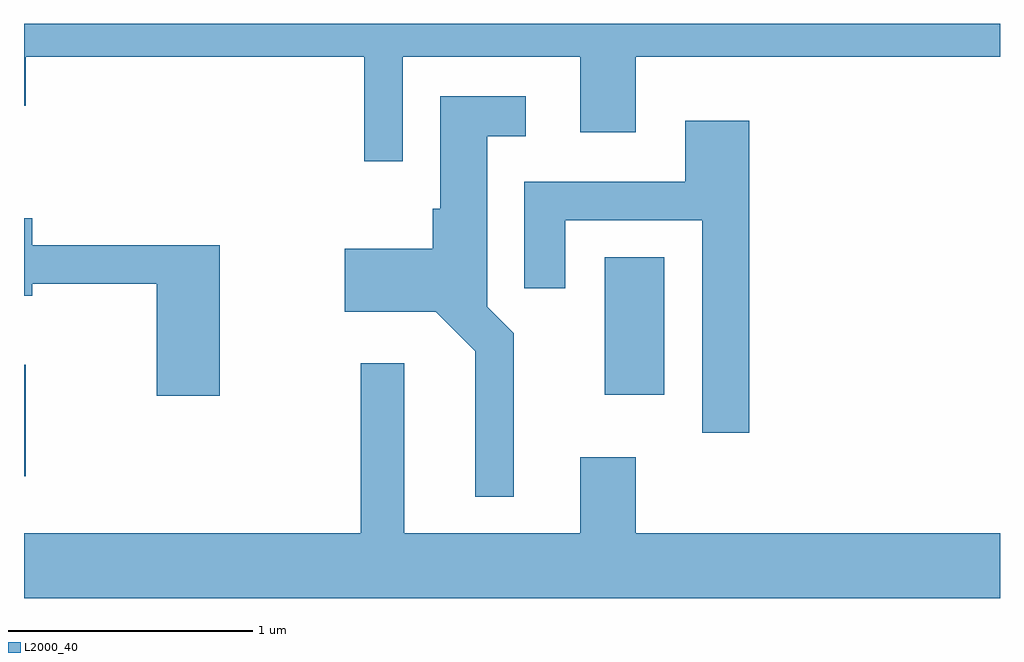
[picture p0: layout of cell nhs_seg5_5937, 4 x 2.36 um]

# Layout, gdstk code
import gdstk
lib = gdstk.Library(unit=1e-6, precision=1e-09)
def R(c, l, rs):  # rectangles x0, y0, x1, y1
    for r in rs: c.add(gdstk.rectangle(r[:2], r[2:], *l))
def P(c, l, *ps):  # polygons
    for p in ps: c.add(gdstk.Polygon(p, *l))
L2000_40 = (2000, 40)

nhs_seg5_5937 = lib.new_cell('nhs_seg5_5937')
R(nhs_seg5_5937, L2000_40, [(361.611,1426.216,361.619,1426.674), (363.991,1426.551,364.234,1427.114)])
P(nhs_seg5_5937, L2000_40, [(363.164,1427.936),(363.891,1427.936),(363.891,1427.626),(364.119,1427.626),(364.119,1427.936),(365.611,1427.936),(365.611,1428.072),(361.611,1428.072),(361.611,1427.736),(361.619,1427.736),(361.619,1427.936),(363.006,1427.936),(363.006,1427.508),(363.164,1427.508)],
  [(363.619,1426.802),(363.509,1426.912),(363.509,1427.611),(363.668,1427.611),(363.668,1427.774),(363.316,1427.774),(363.316,1427.314),(363.286,1427.314),(363.286,1427.149),(362.926,1427.149),(362.926,1426.891),(363.299,1426.891),(363.461,1426.729),(363.461,1426.133),(363.619,1426.133)],
  [(364.584,1427.674),(364.321,1427.674),(364.321,1427.424),(363.661,1427.424),(363.661,1426.988),(363.829,1426.988),(363.829,1427.266),(364.391,1427.266),(364.391,1426.396),(364.584,1426.396)],
  [(362.414,1427.164),(361.644,1427.164),(361.644,1427.274),(361.611,1427.274),(361.611,1426.956),(361.644,1426.956),(361.644,1427.006),(362.156,1427.006),(362.156,1426.546),(362.414,1426.546)],
  [(362.991,1426.679),(362.991,1425.984),(361.611,1425.984),(361.611,1425.716),(365.611,1425.716),(365.611,1425.984),(364.119,1425.984),(364.119,1426.294),(363.891,1426.294),(363.891,1425.984),(363.169,1425.984),(363.169,1426.679)])

lib.write_gds('nhs_seg5_5937.gds')
